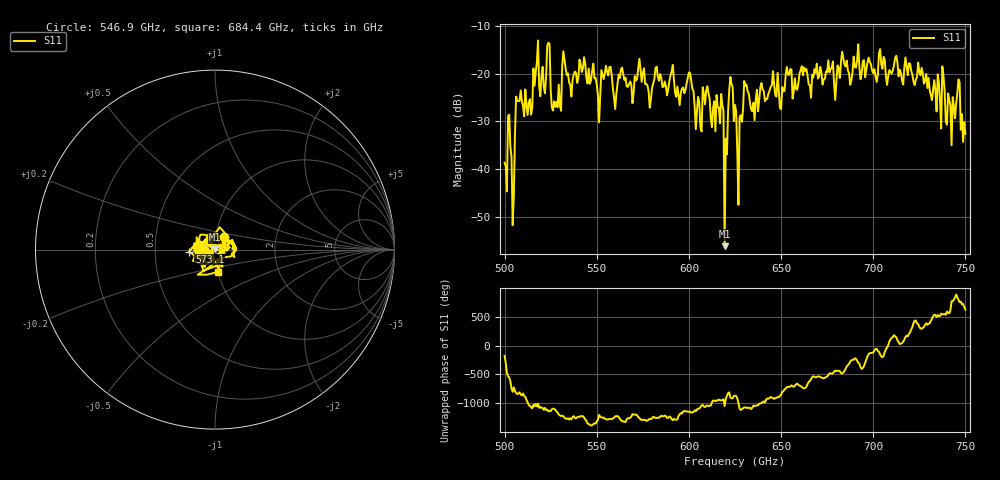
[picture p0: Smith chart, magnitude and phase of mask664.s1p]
!Created with skrf (http://scikit-rf.org).
# GHz S MA R 50.0
!freq magS11 angS11
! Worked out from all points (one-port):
!   401 points, 500 GHz to 750 GHz, reference 50 ohm
!   lowest |S11| = -56.2 dB at 619.4 GHz (marker M1), VSWR 1.00, Z = 50.1 + j0.0846 ohm
!   |S11| at or under -10 dB: start of sweep to end of sweep
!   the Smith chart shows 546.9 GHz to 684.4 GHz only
!   S11 on the Smith chart (normalised r, x): 546.9 GHz: 1.09, +0.15; 573.1 GHz: 0.75, -0.02; 684.4 GHz: 1.01, -0.25
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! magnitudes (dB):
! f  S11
! 500 GHz  -38.7
! 502.5 GHz  -28.6
! 504.4 GHz  -51.8
! 507.5 GHz  -25.7
! 513.8 GHz  -25.3
! 516.9 GHz  -19.7
! 523.8 GHz  -13.5
! 526.9 GHz  -25.8
! 531.2 GHz  -18.5
! 546.9 GHz  -21.4
! 562.5 GHz  -21.0
! 573.1 GHz  -16.9
! 593.8 GHz  -22.7
! 616.2 GHz  -27.2
! 619.4 GHz  -56.2
! 620.6 GHz  -36.9
! 622.5 GHz  -20.7
! 625 GHz  -26.6
! 627.5 GHz  -29.2
! 631.2 GHz  -22.3
! 634.4 GHz  -27.9
! 656.2 GHz  -25.2
! 684.4 GHz  -18.1
! 687.5 GHz  -22.3
! 718.8 GHz  -20.3
! 741.2 GHz  -25.5
! 745.6 GHz  -24.1
! 750 GHz  -32.6
